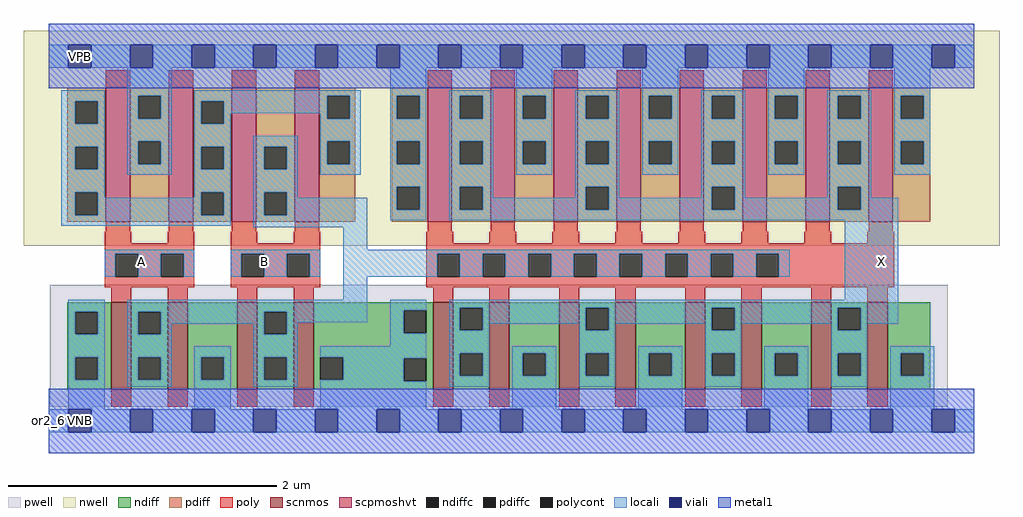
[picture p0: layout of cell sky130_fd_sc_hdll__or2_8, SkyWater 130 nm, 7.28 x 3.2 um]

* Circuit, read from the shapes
.subckt sky130_fd_sc_hdll__or2_8 A B VGND VNB VPB VPWR X
XM1 n1 A VGND VNB sky130_fd_pr__nfet_01v8 w=0.65 l=0.15 m=2
XM2 n1 B VGND VNB sky130_fd_pr__nfet_01v8 w=0.65 l=0.15 m=2
XM3 X n1 VGND VNB sky130_fd_pr__nfet_01v8 w=0.65 l=0.15 m=8
XM4 VPWR A n2 VPB sky130_fd_pr__pfet_01v8_hvt w=1 l=0.18 m=2
XM5 n1 B n2 VPB sky130_fd_pr__pfet_01v8_hvt w=1 l=0.18 m=2
XM6 X n1 VPWR VPB sky130_fd_pr__pfet_01v8_hvt w=1 l=0.18 m=8
.ends

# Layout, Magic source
magic
tech sky130A
magscale 1 2
<< nwell >>
rect -38 261 1418 582
<< pwell >>
rect 1 21 1341 203
rect 30 -17 64 21
<< scnmos >>
rect 93 47 123 177
rect 177 47 207 177
rect 281 47 311 177
rect 365 47 395 177
rect 573 47 603 177
rect 657 47 687 177
rect 761 47 791 177
rect 845 47 875 177
rect 949 47 979 177
rect 1033 47 1063 177
rect 1137 47 1167 177
rect 1221 47 1251 177
<< scpmoshvt >>
rect 85 297 121 497
rect 179 297 215 497
rect 273 297 309 497
rect 367 297 403 497
rect 565 297 601 497
rect 659 297 695 497
rect 753 297 789 497
rect 847 297 883 497
rect 941 297 977 497
rect 1035 297 1071 497
rect 1129 297 1165 497
rect 1223 297 1259 497
<< ndiff >>
rect 27 163 93 177
rect 27 129 39 163
rect 73 129 93 163
rect 27 95 93 129
rect 27 61 39 95
rect 73 61 93 95
rect 27 47 93 61
rect 123 163 177 177
rect 123 129 133 163
rect 167 129 177 163
rect 123 95 177 129
rect 123 61 133 95
rect 167 61 177 95
rect 123 47 177 61
rect 207 95 281 177
rect 207 61 227 95
rect 261 61 281 95
rect 207 47 281 61
rect 311 163 365 177
rect 311 129 321 163
rect 355 129 365 163
rect 311 95 365 129
rect 311 61 321 95
rect 355 61 365 95
rect 311 47 365 61
rect 395 165 573 177
rect 395 131 529 165
rect 563 131 573 165
rect 395 95 573 131
rect 395 61 405 95
rect 439 93 573 95
rect 439 61 529 93
rect 395 59 529 61
rect 563 59 573 93
rect 395 47 573 59
rect 603 169 657 177
rect 603 135 613 169
rect 647 135 657 169
rect 603 101 657 135
rect 603 67 613 101
rect 647 67 657 101
rect 603 47 657 67
rect 687 101 761 177
rect 687 67 707 101
rect 741 67 761 101
rect 687 47 761 67
rect 791 169 845 177
rect 791 135 801 169
rect 835 135 845 169
rect 791 101 845 135
rect 791 67 801 101
rect 835 67 845 101
rect 791 47 845 67
rect 875 101 949 177
rect 875 67 895 101
rect 929 67 949 101
rect 875 47 949 67
rect 979 169 1033 177
rect 979 135 989 169
rect 1023 135 1033 169
rect 979 101 1033 135
rect 979 67 989 101
rect 1023 67 1033 101
rect 979 47 1033 67
rect 1063 101 1137 177
rect 1063 67 1083 101
rect 1117 67 1137 101
rect 1063 47 1137 67
rect 1167 169 1221 177
rect 1167 135 1177 169
rect 1211 135 1221 169
rect 1167 101 1221 135
rect 1167 67 1177 101
rect 1211 67 1221 101
rect 1167 47 1221 67
rect 1251 101 1315 177
rect 1251 67 1271 101
rect 1305 67 1315 101
rect 1251 47 1315 67
<< pdiff >>
rect 27 477 85 497
rect 27 443 39 477
rect 73 443 85 477
rect 27 409 85 443
rect 27 375 39 409
rect 73 375 85 409
rect 27 341 85 375
rect 27 307 39 341
rect 73 307 85 341
rect 27 297 85 307
rect 121 485 179 497
rect 121 451 133 485
rect 167 451 179 485
rect 121 417 179 451
rect 121 383 133 417
rect 167 383 179 417
rect 121 297 179 383
rect 215 477 273 497
rect 215 443 227 477
rect 261 443 273 477
rect 215 409 273 443
rect 215 375 227 409
rect 261 375 273 409
rect 215 341 273 375
rect 215 307 227 341
rect 261 307 273 341
rect 215 297 273 307
rect 309 409 367 497
rect 309 375 321 409
rect 355 375 367 409
rect 309 341 367 375
rect 309 307 321 341
rect 355 307 367 341
rect 309 297 367 307
rect 403 485 457 497
rect 403 451 415 485
rect 449 451 457 485
rect 403 417 457 451
rect 403 383 415 417
rect 449 383 457 417
rect 403 297 457 383
rect 511 485 565 497
rect 511 451 519 485
rect 553 451 565 485
rect 511 417 565 451
rect 511 383 519 417
rect 553 383 565 417
rect 511 349 565 383
rect 511 315 519 349
rect 553 315 565 349
rect 511 297 565 315
rect 601 485 659 497
rect 601 451 613 485
rect 647 451 659 485
rect 601 417 659 451
rect 601 383 613 417
rect 647 383 659 417
rect 601 349 659 383
rect 601 315 613 349
rect 647 315 659 349
rect 601 297 659 315
rect 695 485 753 497
rect 695 451 707 485
rect 741 451 753 485
rect 695 417 753 451
rect 695 383 707 417
rect 741 383 753 417
rect 695 297 753 383
rect 789 485 847 497
rect 789 451 801 485
rect 835 451 847 485
rect 789 417 847 451
rect 789 383 801 417
rect 835 383 847 417
rect 789 349 847 383
rect 789 315 801 349
rect 835 315 847 349
rect 789 297 847 315
rect 883 485 941 497
rect 883 451 895 485
rect 929 451 941 485
rect 883 417 941 451
rect 883 383 895 417
rect 929 383 941 417
rect 883 297 941 383
rect 977 485 1035 497
rect 977 451 989 485
rect 1023 451 1035 485
rect 977 417 1035 451
rect 977 383 989 417
rect 1023 383 1035 417
rect 977 349 1035 383
rect 977 315 989 349
rect 1023 315 1035 349
rect 977 297 1035 315
rect 1071 485 1129 497
rect 1071 451 1083 485
rect 1117 451 1129 485
rect 1071 417 1129 451
rect 1071 383 1083 417
rect 1117 383 1129 417
rect 1071 297 1129 383
rect 1165 485 1223 497
rect 1165 451 1177 485
rect 1211 451 1223 485
rect 1165 417 1223 451
rect 1165 383 1177 417
rect 1211 383 1223 417
rect 1165 349 1223 383
rect 1165 315 1177 349
rect 1211 315 1223 349
rect 1165 297 1223 315
rect 1259 485 1315 497
rect 1259 451 1271 485
rect 1305 451 1315 485
rect 1259 417 1315 451
rect 1259 383 1271 417
rect 1305 383 1315 417
rect 1259 297 1315 383
<< ndiffc >>
rect 39 129 73 163
rect 39 61 73 95
rect 133 129 167 163
rect 133 61 167 95
rect 227 61 261 95
rect 321 129 355 163
rect 321 61 355 95
rect 529 131 563 165
rect 405 61 439 95
rect 529 59 563 93
rect 613 135 647 169
rect 613 67 647 101
rect 707 67 741 101
rect 801 135 835 169
rect 801 67 835 101
rect 895 67 929 101
rect 989 135 1023 169
rect 989 67 1023 101
rect 1083 67 1117 101
rect 1177 135 1211 169
rect 1177 67 1211 101
rect 1271 67 1305 101
<< pdiffc >>
rect 39 443 73 477
rect 39 375 73 409
rect 39 307 73 341
rect 133 451 167 485
rect 133 383 167 417
rect 227 443 261 477
rect 227 375 261 409
rect 227 307 261 341
rect 321 375 355 409
rect 321 307 355 341
rect 415 451 449 485
rect 415 383 449 417
rect 519 451 553 485
rect 519 383 553 417
rect 519 315 553 349
rect 613 451 647 485
rect 613 383 647 417
rect 613 315 647 349
rect 707 451 741 485
rect 707 383 741 417
rect 801 451 835 485
rect 801 383 835 417
rect 801 315 835 349
rect 895 451 929 485
rect 895 383 929 417
rect 989 451 1023 485
rect 989 383 1023 417
rect 989 315 1023 349
rect 1083 451 1117 485
rect 1083 383 1117 417
rect 1177 451 1211 485
rect 1177 383 1211 417
rect 1177 315 1211 349
rect 1271 451 1305 485
rect 1271 383 1305 417
<< poly >>
rect 85 497 121 523
rect 179 497 215 523
rect 273 497 309 523
rect 367 497 403 523
rect 565 497 601 523
rect 659 497 695 523
rect 753 497 789 523
rect 847 497 883 523
rect 941 497 977 523
rect 1035 497 1071 523
rect 1129 497 1165 523
rect 1223 497 1259 523
rect 85 282 121 297
rect 179 282 215 297
rect 273 282 309 297
rect 367 282 403 297
rect 565 282 601 297
rect 659 282 695 297
rect 753 282 789 297
rect 847 282 883 297
rect 941 282 977 297
rect 1035 282 1071 297
rect 1129 282 1165 297
rect 1223 282 1259 297
rect 83 265 123 282
rect 177 265 217 282
rect 83 249 217 265
rect 83 215 99 249
rect 133 215 167 249
rect 201 215 217 249
rect 83 199 217 215
rect 271 265 311 282
rect 365 265 405 282
rect 271 249 405 265
rect 271 215 287 249
rect 321 215 355 249
rect 389 215 405 249
rect 271 199 405 215
rect 563 265 603 282
rect 657 265 697 282
rect 751 265 791 282
rect 845 265 885 282
rect 939 265 979 282
rect 1033 265 1073 282
rect 1127 265 1167 282
rect 1221 265 1261 282
rect 563 249 1261 265
rect 563 215 579 249
rect 613 215 647 249
rect 681 215 715 249
rect 749 215 783 249
rect 817 215 851 249
rect 885 215 919 249
rect 953 215 987 249
rect 1021 215 1055 249
rect 1089 215 1261 249
rect 563 199 1261 215
rect 93 177 123 199
rect 177 177 207 199
rect 281 177 311 199
rect 365 177 395 199
rect 573 177 603 199
rect 657 177 687 199
rect 761 177 791 199
rect 845 177 875 199
rect 949 177 979 199
rect 1033 177 1063 199
rect 1137 177 1167 199
rect 1221 177 1251 199
rect 93 21 123 47
rect 177 21 207 47
rect 281 21 311 47
rect 365 21 395 47
rect 573 21 603 47
rect 657 21 687 47
rect 761 21 791 47
rect 845 21 875 47
rect 949 21 979 47
rect 1033 21 1063 47
rect 1137 21 1167 47
rect 1221 21 1251 47
<< polycont >>
rect 99 215 133 249
rect 167 215 201 249
rect 287 215 321 249
rect 355 215 389 249
rect 579 215 613 249
rect 647 215 681 249
rect 715 215 749 249
rect 783 215 817 249
rect 851 215 885 249
rect 919 215 953 249
rect 987 215 1021 249
rect 1055 215 1089 249
<< locali >>
rect 0 527 29 561
rect 63 527 121 561
rect 155 527 213 561
rect 247 527 305 561
rect 339 527 397 561
rect 431 527 489 561
rect 523 527 581 561
rect 615 527 673 561
rect 707 527 765 561
rect 799 527 857 561
rect 891 527 949 561
rect 983 527 1041 561
rect 1075 527 1133 561
rect 1167 527 1225 561
rect 1259 527 1317 561
rect 1351 527 1380 561
rect 18 477 83 493
rect 18 443 39 477
rect 73 443 83 477
rect 18 409 83 443
rect 18 375 39 409
rect 73 375 83 409
rect 18 341 83 375
rect 117 485 183 527
rect 117 451 133 485
rect 167 451 183 485
rect 117 417 183 451
rect 117 383 133 417
rect 167 383 183 417
rect 117 367 183 383
rect 217 485 465 493
rect 217 477 415 485
rect 217 443 227 477
rect 261 459 415 477
rect 261 443 271 459
rect 217 409 271 443
rect 405 451 415 459
rect 449 451 465 485
rect 217 375 227 409
rect 261 375 271 409
rect 18 307 39 341
rect 73 333 83 341
rect 217 341 271 375
rect 217 333 227 341
rect 73 307 227 333
rect 261 307 271 341
rect 18 291 271 307
rect 305 409 371 425
rect 305 375 321 409
rect 355 375 371 409
rect 305 341 371 375
rect 405 417 465 451
rect 405 383 415 417
rect 449 383 465 417
rect 405 367 465 383
rect 509 485 563 527
rect 509 451 519 485
rect 553 451 563 485
rect 509 417 563 451
rect 509 383 519 417
rect 553 383 563 417
rect 305 307 321 341
rect 355 333 371 341
rect 509 349 563 383
rect 355 307 475 333
rect 305 289 475 307
rect 509 315 519 349
rect 553 315 563 349
rect 509 299 563 315
rect 597 485 663 493
rect 597 451 613 485
rect 647 451 663 485
rect 597 417 663 451
rect 597 383 613 417
rect 647 383 663 417
rect 597 349 663 383
rect 697 485 751 527
rect 697 451 707 485
rect 741 451 751 485
rect 697 417 751 451
rect 697 383 707 417
rect 741 383 751 417
rect 697 367 751 383
rect 785 485 851 493
rect 785 451 801 485
rect 835 451 851 485
rect 785 417 851 451
rect 785 383 801 417
rect 835 383 851 417
rect 597 315 613 349
rect 647 333 663 349
rect 785 349 851 383
rect 885 485 939 527
rect 885 451 895 485
rect 929 451 939 485
rect 885 417 939 451
rect 885 383 895 417
rect 929 383 939 417
rect 885 367 939 383
rect 973 485 1039 493
rect 973 451 989 485
rect 1023 451 1039 485
rect 973 417 1039 451
rect 973 383 989 417
rect 1023 383 1039 417
rect 785 333 801 349
rect 647 315 801 333
rect 835 333 851 349
rect 973 349 1039 383
rect 1073 485 1127 527
rect 1073 451 1083 485
rect 1117 451 1127 485
rect 1073 417 1127 451
rect 1073 383 1083 417
rect 1117 383 1127 417
rect 1073 367 1127 383
rect 1161 485 1227 493
rect 1161 451 1177 485
rect 1211 451 1227 485
rect 1161 417 1227 451
rect 1161 383 1177 417
rect 1211 383 1227 417
rect 973 333 989 349
rect 835 315 989 333
rect 1023 333 1039 349
rect 1161 349 1227 383
rect 1261 485 1315 527
rect 1261 451 1271 485
rect 1305 451 1315 485
rect 1261 417 1315 451
rect 1261 383 1271 417
rect 1305 383 1315 417
rect 1261 367 1315 383
rect 1161 333 1177 349
rect 1023 315 1177 333
rect 1211 333 1227 349
rect 1211 315 1267 333
rect 597 299 1267 315
rect 439 255 475 289
rect 83 249 217 255
rect 83 215 99 249
rect 133 215 167 249
rect 201 215 217 249
rect 271 249 405 255
rect 271 215 287 249
rect 321 215 355 249
rect 389 215 405 249
rect 439 249 1105 255
rect 439 215 579 249
rect 613 215 647 249
rect 681 215 715 249
rect 749 215 783 249
rect 817 215 851 249
rect 885 215 919 249
rect 953 215 987 249
rect 1021 215 1055 249
rect 1089 215 1105 249
rect 439 181 475 215
rect 1187 181 1267 299
rect 29 163 83 181
rect 29 129 39 163
rect 73 129 83 163
rect 29 95 83 129
rect 29 61 39 95
rect 73 61 83 95
rect 29 17 83 61
rect 117 163 475 181
rect 117 129 133 163
rect 167 145 321 163
rect 167 129 183 145
rect 117 95 183 129
rect 305 129 321 145
rect 355 147 475 163
rect 509 165 563 181
rect 355 129 371 147
rect 117 61 133 95
rect 167 61 183 95
rect 117 51 183 61
rect 217 95 271 111
rect 217 61 227 95
rect 261 61 271 95
rect 217 17 271 61
rect 305 95 371 129
rect 509 131 529 165
rect 509 111 563 131
rect 305 61 321 95
rect 355 61 371 95
rect 305 51 371 61
rect 405 95 563 111
rect 439 93 563 95
rect 439 61 529 93
rect 405 59 529 61
rect 405 17 563 59
rect 597 169 1267 181
rect 597 135 613 169
rect 647 145 801 169
rect 647 135 657 145
rect 597 101 657 135
rect 791 135 801 145
rect 835 145 989 169
rect 835 135 845 145
rect 597 67 613 101
rect 647 67 657 101
rect 597 51 657 67
rect 691 101 757 111
rect 691 67 707 101
rect 741 67 757 101
rect 691 17 757 67
rect 791 101 845 135
rect 979 135 989 145
rect 1023 145 1177 169
rect 1023 135 1033 145
rect 791 67 801 101
rect 835 67 845 101
rect 791 51 845 67
rect 879 101 945 111
rect 879 67 895 101
rect 929 67 945 101
rect 879 17 945 67
rect 979 101 1033 135
rect 1167 135 1177 145
rect 1211 145 1267 169
rect 1211 135 1221 145
rect 979 67 989 101
rect 1023 67 1033 101
rect 979 51 1033 67
rect 1067 101 1133 111
rect 1067 67 1083 101
rect 1117 67 1133 101
rect 1067 17 1133 67
rect 1167 101 1221 135
rect 1167 67 1177 101
rect 1211 67 1221 101
rect 1167 51 1221 67
rect 1255 101 1321 111
rect 1255 67 1271 101
rect 1305 67 1321 101
rect 1255 17 1321 67
rect 0 -17 29 17
rect 63 -17 121 17
rect 155 -17 213 17
rect 247 -17 305 17
rect 339 -17 397 17
rect 431 -17 489 17
rect 523 -17 581 17
rect 615 -17 673 17
rect 707 -17 765 17
rect 799 -17 857 17
rect 891 -17 949 17
rect 983 -17 1041 17
rect 1075 -17 1133 17
rect 1167 -17 1225 17
rect 1259 -17 1317 17
rect 1351 -17 1380 17
<< viali >>
rect 29 527 63 561
rect 121 527 155 561
rect 213 527 247 561
rect 305 527 339 561
rect 397 527 431 561
rect 489 527 523 561
rect 581 527 615 561
rect 673 527 707 561
rect 765 527 799 561
rect 857 527 891 561
rect 949 527 983 561
rect 1041 527 1075 561
rect 1133 527 1167 561
rect 1225 527 1259 561
rect 1317 527 1351 561
rect 29 -17 63 17
rect 121 -17 155 17
rect 213 -17 247 17
rect 305 -17 339 17
rect 397 -17 431 17
rect 489 -17 523 17
rect 581 -17 615 17
rect 673 -17 707 17
rect 765 -17 799 17
rect 857 -17 891 17
rect 949 -17 983 17
rect 1041 -17 1075 17
rect 1133 -17 1167 17
rect 1225 -17 1259 17
rect 1317 -17 1351 17
<< metal1 >>
rect 0 561 1380 592
rect 0 527 29 561
rect 63 527 121 561
rect 155 527 213 561
rect 247 527 305 561
rect 339 527 397 561
rect 431 527 489 561
rect 523 527 581 561
rect 615 527 673 561
rect 707 527 765 561
rect 799 527 857 561
rect 891 527 949 561
rect 983 527 1041 561
rect 1075 527 1133 561
rect 1167 527 1225 561
rect 1259 527 1317 561
rect 1351 527 1380 561
rect 0 496 1380 527
rect 0 17 1380 48
rect 0 -17 29 17
rect 63 -17 121 17
rect 155 -17 213 17
rect 247 -17 305 17
rect 339 -17 397 17
rect 431 -17 489 17
rect 523 -17 581 17
rect 615 -17 673 17
rect 707 -17 765 17
rect 799 -17 857 17
rect 891 -17 949 17
rect 983 -17 1041 17
rect 1075 -17 1133 17
rect 1167 -17 1225 17
rect 1259 -17 1317 17
rect 1351 -17 1380 17
rect 0 -48 1380 -17
<< labels >>
flabel locali s 1225 221 1259 255 0 FreeSans 200 0 0 0 X
port 7 nsew signal output
flabel locali s 121 221 155 255 0 FreeSans 200 0 0 0 A
port 1 nsew signal input
flabel locali s 305 221 339 255 0 FreeSans 200 0 0 0 B
port 2 nsew signal input
flabel pwell s 30 -17 64 17 0 FreeSans 200 0 0 0 VNB
port 4 nsew ground bidirectional
flabel nwell s 30 527 64 561 0 FreeSans 200 0 0 0 VPB
port 5 nsew power bidirectional
flabel metal1 s 30 -17 64 17 0 FreeSans 200 0 0 0 VGND
port 3 nsew ground bidirectional
flabel metal1 s 30 527 64 561 0 FreeSans 200 0 0 0 VPWR
port 6 nsew power bidirectional
rlabel comment s 0 0 0 0 4 or2_6
<< properties >>
string LEFsite unithd
string LEFclass CORE
string FIXED_BBOX 0 0 1380 544
string GDS_FILE $PDKPATH/libs.ref/sky130_fd_sc_hdll/gds/sky130_fd_sc_hdll.gds
string LEFsymmetry X Y R90
string GDS_END 3578516
string GDS_START 3567870
string LEFproperties maskLayoutSubType "abstract" prCellType "standard" originalViewName "layout"
<< end >>
